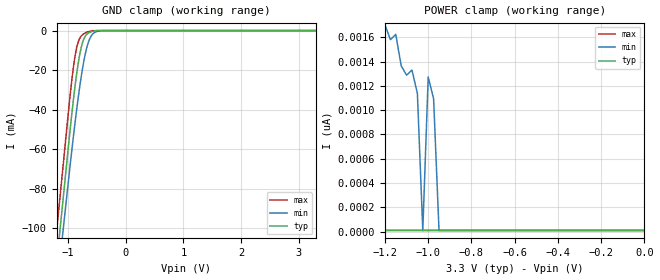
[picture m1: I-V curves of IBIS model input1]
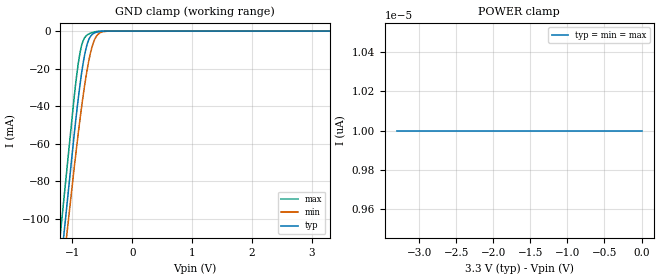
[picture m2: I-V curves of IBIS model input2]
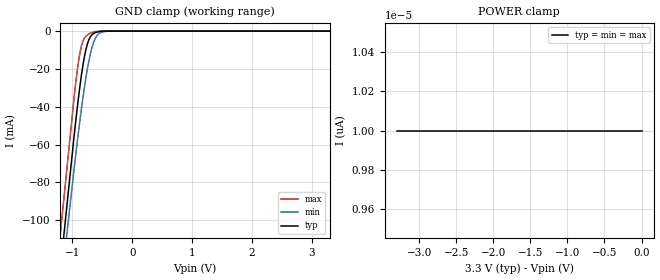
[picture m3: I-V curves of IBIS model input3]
|   Microchip Technology Inc.
|   93LC56B - 2 Kbit Microwire serial EEPROM
|   (Vcc = +2.5V to +5.5V)
|   150K Process
|   Copyright (C) 2010 Microchip Technology Inc.
[IBIS ver]   3.2
[File name]   93lc56b-i_ot-3_3v.ibs
[File Rev]   1.0
[Date]   May 11, 2010
[Source]   Waveforms generated by SPICE simulation at Microchip.
   All other data taken from lab measurements at Microchip.
[Notes]   This IBIS model is for the Microchip 93LC56B device, a
   2 Kbit Microwire bus serial EEPROM manufactured on
   Microchip's 150K process, for industrial temp in a
   6-lead SOT-23 package operating at 3.3V.
[Disclaimer] Unauthorized reproduction and/or distribution is
                 strictly restricted. All rights reserved.
                 This information is provided to you for your convenience
                 and use with Microchip products only. Microchip
                 disclaims all liability arising from this information
                 and its use.
                 THIS INFORMATION IS PROVIDED "AS IS." MICROCHIP MAKES NO
                 REPRESENTATION OR WARRANTIES OF ANY KIND WHETHER EXPRESS
                 OR IMPLIED, WRITTEN OR ORAL, STATUTORY OR OTHERWISE,
                 RELATED TO THE INFORMATION PROVIDED TO YOU, INCLUDING
                 BUT NOT LIMITED TO ITS CONDITION, QUALITY, PERFORMANCE,
                 MERCHANTABILITY, NON-INFRINGEMENT, OR FITNESS FOR
                 PURPOSE. MICROCHIP IS NOT LIABLE, UNDER ANY
                 CIRCUMSTANCES, FOR SPECIAL, INCIDENTAL OR CONSEQUENTIAL
                 DAMAGES, FOR ANY REASON WHATSOEVER.
                 It is your responsibility to ensure that your
                 application meets with your specifications.
|   Component 93LC56B-I/OT
[Component]   93LC56B-I/OT
[Manufacturer]   Microchip Technology Inc.
[Package]
| variable   typ   min   max
R_pkg   129.89m   103.95m   155.84m
L_pkg   2.03nH   1.42nH   2.64nH
C_pkg   0.43pF   0.43pF   0.43pF
[Pin]  signal_name   model_name
1   DO   driver
2   VSS   GND
3   DI   input3
4   CLK   input2
5   CS   input1
6   VCC   POWER
| Models and submodels in the file (4): input1 (Input), input2 (Input), input3 (Input), driver (3-state)
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|   Model input1
[Model]   input1
Model_type   Input
Vinl = 0.8
Vinh = 2.0
C_comp   5.00pF   5.00pF   5.00pF
[Temperature Range]   25.00   85.00   -40.00
[Voltage Range]   3.30V   2.50V   5.50V
[Pullup Reference]   3.30V   3.30V   3.30V
[POWER Clamp Reference]   3.30V   3.30V   3.30V
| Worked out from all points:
|   GND clamp passes 1 mA (typ) near -0.63 V on its own axis
[GND_clamp]
| voltage   I(typ)   I(min)   I(max)
-3.3V     -726.4mA   -700.6mA   -720.2mA
-1.26V    -135.7mA   -148.2mA   -119.6mA
-1.175V   -111mA     -125.2mA   -94.57mA
-1.09V    -86.42mA   -102.1mA   -69.55mA
-975mV    -53.12mA   -71mA      -35.69mA
-900mV    -33.16mA   -51.72mA   -16.99mA
-850mV    -21.71mA   -39.78mA   -8.509mA
-800mV    -12.47mA   -28.88mA   -3.995mA
-700mV    -2.757mA   -11.67mA   -1.193mA
-600mV    -608.1uA   -2.762mA   -222uA
-450mV    -16.66uA   -160.2uA   -873.3nA
3.3V      10pA       10pA       10pA
[POWER_clamp]
| voltage   I(typ)   I(min)   I(max)
-3.3V     127.2nA    493.7nA    13.44nA
-2.74V    16.9nA     136.3nA    1.8nA
-2.53V    7.142nA    77.71nA    10pA
-2.18V    1.996nA    28.56nA    10pA
-2.11V    1.302nA    23.4nA     10pA
-2.04V    10pA       18.9nA     10pA
-1.15V    10pA       1.624nA    10pA
-1.05V    10pA       1.138nA    10pA
-1.025V   10pA       10pA       10pA
-1V       10pA       1.273nA    10pA
-950mV    10pA       10pA       10pA
0V        10pA       10pA       10pA
|   Model input2
[Model]   input2
Model_type   Input
Vinl = 0.8
Vinh = 2.0
C_comp   5.00pF   5.00pF   5.00pF
[Temperature Range]   25.00   85.00   -40.00
[Voltage Range]   3.30V   2.50V   5.50V
[Pullup Reference]   3.30V   3.30V   3.30V
[POWER Clamp Reference]   3.30V   3.30V   3.30V
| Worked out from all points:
|   GND clamp passes 1 mA (typ) near -0.63 V on its own axis
[GND_clamp]
| voltage   I(typ)   I(min)   I(max)
-3.3V     -775.4mA   -743.9mA   -771.2mA
-1.26V    -144.7mA   -156.3mA   -126.6mA
-1.175V   -118.4mA   -131.9mA   -99.74mA
-1.09V    -92.12mA   -107.4mA   -72.88mA
-975mV    -56.56mA   -74.27mA   -36.54mA
-900mV    -35.32mA   -53.86mA   -16.77mA
-825mV    -17.95mA   -35.43mA   -5.468mA
-725mV    -4.409mA   -15.66mA   -1.523mA
-675mV    -1.939mA   -8.776mA   -822.4uA
-600mV    -632.4uA   -2.797mA   -224.7uA
-450mV    -23.42uA   -165.5uA   -1.472uA
3.3V      10pA       10pA       10pA
[POWER_clamp]
| voltage   I(typ)   I(min)   I(max)
-3.3V     10pA       10pA       10pA
-3.23V    10pA       10pA       10pA
-3.16V    10pA       10pA       10pA
0V        10pA       10pA       10pA
|   Model input3
[Model]   input3
Model_type   Input
Vinl = 0.8
Vinh = 2.0
C_comp   5.00pF   5.00pF   5.00pF
[Temperature Range]   25.00   85.00   -40.00
[Voltage Range]   3.30V   2.50V   5.50V
[Pullup Reference]   3.30V   3.30V   3.30V
[POWER Clamp Reference]   3.30V   3.30V   3.30V
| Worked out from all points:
|   GND clamp passes 1 mA (typ) near -0.63 V on its own axis
[GND_clamp]
| voltage   I(typ)   I(min)   I(max)
-3.3V     -767.1mA   -735mA     -765.2mA
-1.26V    -143.7mA   -154.9mA   -125.5mA
-1.175V   -117.7mA   -130.7mA   -98.8mA
-1.09V    -91.73mA   -106.5mA   -72.14mA
-975mV    -56.59mA   -73.8mA    -36.08mA
-900mV    -35.58mA   -53.64mA   -16.49mA
-825mV    -18.3mA    -35.41mA   -5.37mA
-725mV    -4.59mA    -15.78mA   -1.513mA
-675mV    -2.014mA   -8.897mA   -816uA
-600mV    -651.3uA   -2.861mA   -221.6uA
-450mV    -25.16uA   -170.2uA   -1.434uA
3.3V      10pA       10pA       10pA
[POWER_clamp]
| voltage   I(typ)   I(min)   I(max)
-3.3V     10pA       10pA       10pA
-3.23V    10pA       10pA       10pA
-3.16V    10pA       10pA       10pA
0V        10pA       10pA       10pA
